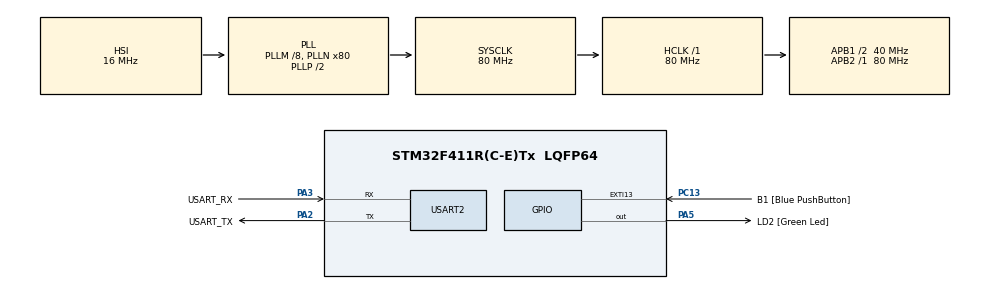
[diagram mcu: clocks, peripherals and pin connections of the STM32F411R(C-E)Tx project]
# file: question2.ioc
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FREERTOS.Tasks01=defaultTask,0,128,StartDefaultTask,Default,NULL,Dynamic,NULL,NULL;myTask02,-3,128,StartTask02,Default,NULL,Dynamic,NULL,NULL;myTask03,-3,128,StartTask03,Default,NULL,Dynamic,NULL,NULL
Mcu.Family=STM32F4
Mcu.Name=STM32F411R(C-E)Tx
Mcu.Package=LQFP64
NVIC.PriorityGroup=NVIC_PRIORITYGROUP_4
PA13.GPIO_Label=TMS
PA13.Mode=Serial_Wire
PA13.Signal=SYS_JTMS-SWDIO
PA14.GPIO_Label=TCK
PA14.Mode=Serial_Wire
PA14.Signal=SYS_JTCK-SWCLK
PA2.GPIO_Label=USART_TX
PA2.Mode=Asynchronous
PA2.Signal=USART2_TX
PA3.GPIO_Label=USART_RX
PA3.Mode=Asynchronous
PA3.Signal=USART2_RX
PA5.GPIO_Label=LD2 [Green Led]
PA5.Signal=GPIO_Output
PB3.GPIO_Label=SWO
PB3.Signal=SYS_JTDO-SWO
PC13-ANTI_TAMP.GPIO_Label=B1 [Blue PushButton]
PC13-ANTI_TAMP.GPIO_ModeDefaultEXTI=GPIO_MODE_IT_FALLING
PC13-ANTI_TAMP.Signal=GPXTI13
PC14-OSC32_IN.Mode=LSE-External-Oscillator
PC14-OSC32_IN.Signal=RCC_OSC32_IN
PC15-OSC32_OUT.Mode=LSE-External-Oscillator
PC15-OSC32_OUT.Signal=RCC_OSC32_OUT
PH0\ -\ OSC_IN.Mode=HSE-External-Clock-Source
PH0\ -\ OSC_IN.Signal=RCC_OSC_IN
PH1\ -\ OSC_OUT.Mode=HSE-External-Clock-Source
PH1\ -\ OSC_OUT.Signal=RCC_OSC_OUT
ProjectManager.HeapSize=0x200
ProjectManager.StackSize=0x400
ProjectManager.TargetToolchain=STM32CubeIDE
RCC.48MHZClocksFreq_Value=40000000
RCC.AHBFreq_Value=80000000
RCC.APB1CLKDivider=RCC_HCLK_DIV2
RCC.APB1Freq_Value=40000000
RCC.APB1TimFreq_Value=80000000
RCC.APB2Freq_Value=80000000
RCC.APB2TimFreq_Value=80000000
RCC.CortexFreq_Value=80000000
RCC.FLatency-AdvancedSettings=FLASH_LATENCY_2
RCC.HCLKFreq_Value=80000000
RCC.HSE_VALUE=8000000
RCC.HSI_VALUE=16000000
RCC.PLLM=8
RCC.PLLN=80
RCC.SYSCLKFreq_VALUE=80000000
RCC.SYSCLKSource=RCC_SYSCLKSOURCE_PLLCLK
RCC.VCOOutputFreq_Value=160000000
USART2.VirtualMode=VM_ASYNC
VP_FREERTOS_VS_CMSIS_V1.Mode=CMSIS_V1
board=NUCLEO-F411RE

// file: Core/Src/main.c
/* USER CODE BEGIN Header */
/**
 ******************************************************************************
 * @file           : main.c
 * @brief          : Main program body
 ******************************************************************************
 * @attention
 *
 * Copyright (c) 2022 STMicroelectronics.
 * All rights reserved.
 *
 * This software is licensed under terms that can be found in the LICENSE file
 * in the root directory of this software component.
 * If no LICENSE file comes with this software, it is provided AS-IS.
 *
 ******************************************************************************
 */
/* USER CODE END Header */
#include "main.h"
#include "cmsis_os.h"

/* USER CODE BEGIN PD */
int delay = 0;
int start = 0;
int action = 0;
int stage = 0;
/* USER CODE END PD */

 UART_HandleTypeDef huart2;

osThreadId defaultTaskHandle;
osThreadId myTask02Handle;
osThreadId myTask03Handle;

void SystemClock_Config(void);
static void MX_GPIO_Init(void);
static void MX_USART2_UART_Init(void);
void StartDefaultTask(void const * argument);
void StartTask02(void const * argument);
void StartTask03(void const * argument);

int main(void)
{

  /* MCU Configuration--------------------------------------------------------*/

  /* Reset of all peripherals, Initializes the Flash interface and the Systick. */
  HAL_Init();

  /* Configure the system clock */
  SystemClock_Config();

  /* Initialize all configured peripherals */
  MX_GPIO_Init();
  MX_USART2_UART_Init();

  /* Create the thread(s) */
  /* definition and creation of defaultTask */
  osThreadDef(defaultTask, StartDefaultTask, osPriorityNormal, 0, 128);
  defaultTaskHandle = osThreadCreate(osThread(defaultTask), NULL);

  /* definition and creation of myTask02 */
  osThreadDef(myTask02, StartTask02, osPriorityIdle, 0, 128);
  myTask02Handle = osThreadCreate(osThread(myTask02), NULL);

  /* definition and creation of myTask03 */
  osThreadDef(myTask03, StartTask03, osPriorityIdle, 0, 128);
  myTask03Handle = osThreadCreate(osThread(myTask03), NULL);

  /* Start scheduler */
  osKernelStart();

  /* We should never get here as control is now taken by the scheduler */
  /* Infinite loop */
	while (1) {

	}
}

void SystemClock_Config(void)
{
  RCC_OscInitTypeDef RCC_OscInitStruct = {0};
  RCC_ClkInitTypeDef RCC_ClkInitStruct = {0};

  /** Configure the main internal regulator output voltage
  */
  __HAL_RCC_PWR_CLK_ENABLE();
  __HAL_PWR_VOLTAGESCALING_CONFIG(PWR_REGULATOR_VOLTAGE_SCALE1);

  /** Initializes the RCC Oscillators according to the specified parameters
  * in the RCC_OscInitTypeDef structure.
  */
  RCC_OscInitStruct.OscillatorType = RCC_OSCILLATORTYPE_HSI;
  RCC_OscInitStruct.HSIState = RCC_HSI_ON;
  RCC_OscInitStruct.HSICalibrationValue = RCC_HSICALIBRATION_DEFAULT;
  RCC_OscInitStruct.PLL.PLLState = RCC_PLL_ON;
  RCC_OscInitStruct.PLL.PLLSource = RCC_PLLSOURCE_HSI;
  RCC_OscInitStruct.PLL.PLLM = 8;
  RCC_OscInitStruct.PLL.PLLN = 80;
  RCC_OscInitStruct.PLL.PLLP = RCC_PLLP_DIV2;
  RCC_OscInitStruct.PLL.PLLQ = 4;
  if (HAL_RCC_OscConfig(&RCC_OscInitStruct) != HAL_OK)
  {
    Error_Handler();
  }

  /** Initializes the CPU, AHB and APB buses clocks
  */
  RCC_ClkInitStruct.ClockType = RCC_CLOCKTYPE_HCLK|RCC_CLOCKTYPE_SYSCLK
                              |RCC_CLOCKTYPE_PCLK1|RCC_CLOCKTYPE_PCLK2;
  RCC_ClkInitStruct.SYSCLKSource = RCC_SYSCLKSOURCE_PLLCLK;
  RCC_ClkInitStruct.AHBCLKDivider = RCC_SYSCLK_DIV1;
  RCC_ClkInitStruct.APB1CLKDivider = RCC_HCLK_DIV2;
  RCC_ClkInitStruct.APB2CLKDivider = RCC_HCLK_DIV1;

  if (HAL_RCC_ClockConfig(&RCC_ClkInitStruct, FLASH_LATENCY_2) != HAL_OK)
  {
    Error_Handler();
  }
}

static void MX_USART2_UART_Init(void)
{

  huart2.Instance = USART2;
  huart2.Init.BaudRate = 115200;
  huart2.Init.WordLength = UART_WORDLENGTH_8B;
  huart2.Init.StopBits = UART_STOPBITS_1;
  huart2.Init.Parity = UART_PARITY_NONE;
  huart2.Init.Mode = UART_MODE_TX_RX;
  huart2.Init.HwFlowCtl = UART_HWCONTROL_NONE;
  huart2.Init.OverSampling = UART_OVERSAMPLING_16;
  if (HAL_UART_Init(&huart2) != HAL_OK)
  {
    Error_Handler();
  }

}

static void MX_GPIO_Init(void)
{
  GPIO_InitTypeDef GPIO_InitStruct = {0};

  /* GPIO Ports Clock Enable */
  __HAL_RCC_GPIOC_CLK_ENABLE();
  __HAL_RCC_GPIOH_CLK_ENABLE();
  __HAL_RCC_GPIOA_CLK_ENABLE();
  __HAL_RCC_GPIOB_CLK_ENABLE();

  /*Configure GPIO pin Output Level */
  HAL_GPIO_WritePin(LD2_GPIO_Port, LD2_Pin, GPIO_PIN_RESET);

  /*Configure GPIO pin : B1_Pin */
  GPIO_InitStruct.Pin = B1_Pin;
  GPIO_InitStruct.Mode = GPIO_MODE_IT_FALLING;
  GPIO_InitStruct.Pull = GPIO_NOPULL;
  HAL_GPIO_Init(B1_GPIO_Port, &GPIO_InitStruct);

  /*Configure GPIO pin : LD2_Pin */
  GPIO_InitStruct.Pin = LD2_Pin;
  GPIO_InitStruct.Mode = GPIO_MODE_OUTPUT_PP;
  GPIO_InitStruct.Pull = GPIO_NOPULL;
  GPIO_InitStruct.Speed = GPIO_SPEED_FREQ_LOW;
  HAL_GPIO_Init(LD2_GPIO_Port, &GPIO_InitStruct);

}

void StartDefaultTask(void const * argument)
{
  /* USER CODE BEGIN 5 */
	/* Infinite loop */
	for (;;) {
		if (stage == 0) {
			HAL_GPIO_WritePin(GPIOA, GPIO_PIN_5, 0);
		} else {
			if (start == 1 && delay < 2250) {
				HAL_GPIO_TogglePin(GPIOA, GPIO_PIN_5);
			}

			if (delay < 2250)
				HAL_Delay(2250 - delay);
			else
				HAL_GPIO_WritePin(GPIOA, GPIO_PIN_5, 1);
		}
//    osDelay(1)
	}
  /* USER CODE END 5 */
}

void StartTask02(void const * argument)
{
  /* USER CODE BEGIN StartTask02 */
	/* Infinite loop */
	for (;;) {
		if (HAL_GPIO_ReadPin(GPIOC, GPIO_PIN_13) == 0) {
			start = 1;
			action = 0;
			delay += 500;
			if (stage == 5) {
				stage = 0;
				delay = 0;
			} else {
				stage++;
			}
			while (1) {
				HAL_Delay(100);
				if (HAL_GPIO_ReadPin(GPIOC, GPIO_PIN_13) == 1)
					break;
			}
//    osDelay(1);
		}
	}
  /* USER CODE END StartTask02 */
}

void StartTask03(void const * argument)
{
  /* USER CODE BEGIN StartTask03 */
	/* Infinite loop */
	for (;;)

	{
		action++;
		if (action == 15) {
			action = 0;

			HAL_GPIO_WritePin(GPIOA, GPIO_PIN_5, 0);
			start = 0;
			delay = 0;
		}
		HAL_Delay(1000);
		osDelay(1);
	}
  /* USER CODE END StartTask03 */
}

void Error_Handler(void)
{
	__disable_irq();
	while (1) {
	}
}
